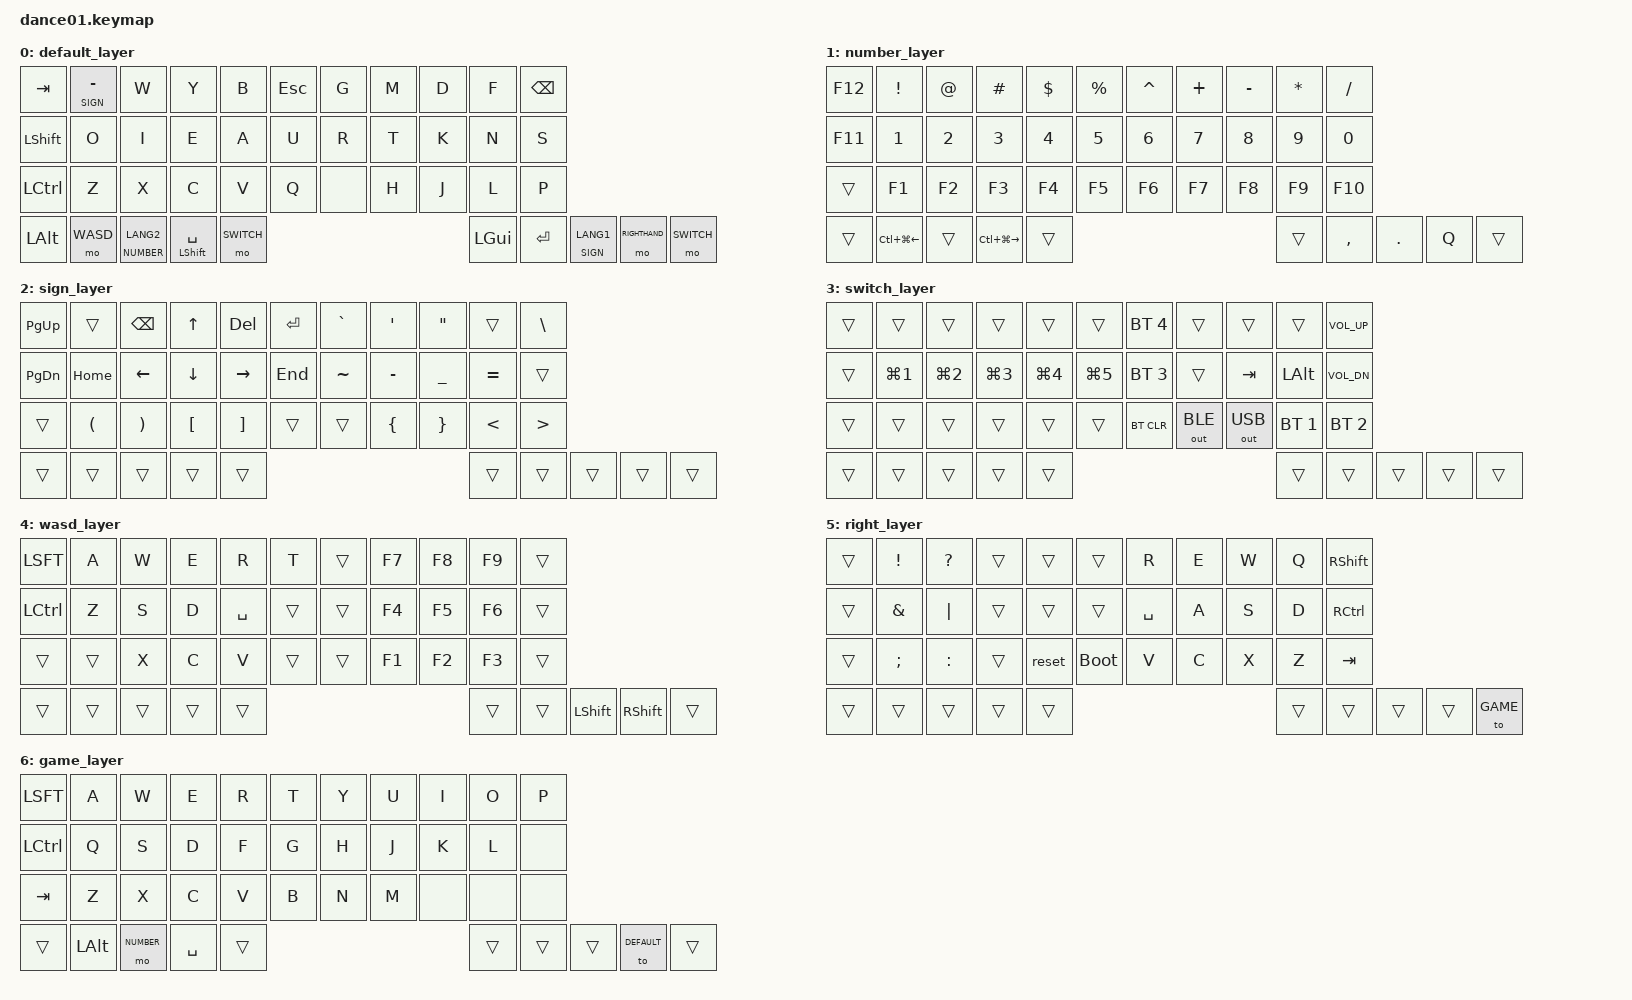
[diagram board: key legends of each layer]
#include <behaviors.dtsi>
#include <dt-bindings/zmk/keys.h>
#include <dt-bindings/zmk/bt.h>
#include <dt-bindings/zmk/outputs.h>

#define DEFAULT 0
#define NUMBER   1
#define SIGN   2
#define SWITCH 3
#define WASD 4
#define RIGHTHAND 5
#define GAME 6

/ {
    keymap {
        compatible = "zmk,keymap";

        default_layer {
            bindings = <
                &kp TAB         &lt SIGN MINUS &kp W    &kp Y &kp B &kp ESC        &kp G    &kp M &kp D &kp F &kp BSPC
                &kp LSHIFT      &kp O          &kp I    &kp E &kp A &kp U          &kp R    &kp T &kp K &kp N &kp S
                &kp LCTRL       &kp Z          &kp X    &kp C &kp V &kp Q          &none    &kp H &kp J &kp L &kp P
                &kp LALT &mo WASD &lt NUMBER LANG2 &mt LSHIFT SPC       &mo SWITCH &kp LGUI         &kp ENTER &lt SIGN LANG1 &mo RIGHTHAND &mo SWITCH
            >;
        };

        number_layer {
            bindings = <
                &kp F12 &kp EXCLAMATION &kp AT_SIGN &kp HASH &kp DOLLAR &kp PERCENT &kp CARET &kp PLUS &kp MINUS &kp ASTERISK &kp SLASH
                &kp F11 &kp N1          &kp N2      &kp N3   &kp N4     &kp N5      &kp N6    &kp N7   &kp N8    &kp N9       &kp N0
                &trans   &kp F1          &kp F2      &kp F3   &kp F4     &kp F5      &kp F6    &kp F7   &kp F8    &kp F9       &kp F10
                &trans &kp LC(LG(LEFT)) &trans   &kp LC(LG(RIGHT))      &trans &trans       &kp COMMA &kp PERIOD &kp Q &trans
            >;
        };

        sign_layer {
            bindings = <
                &kp PAGE_UP   &trans                 &kp BSPC &kp UP   &kp DEL &kp ENTER &kp GRAVE        &kp SINGLE_QUOTE &kp DOUBLE_QUOTES &trans &kp BACKSLASH
                &kp PAGE_DOWN &kp HOME              &kp LEFT &kp DOWN &kp RIGHT &kp END   &kp TILDE        &kp MINUS       &kp UNDERSCORE   &kp EQUAL &trans
                &trans        &kp LEFT_PARENTHESIS  &kp RIGHT_PARENTHESIS &kp LEFT_BRACKET &kp RIGHT_BRACKET &trans &trans &kp LEFT_BRACE &kp RIGHT_BRACE &kp LESS_THAN &kp GREATER_THAN
                &trans &trans &trans &trans       &trans &trans       &trans    &trans    &trans    &trans
            >;
        };

        switch_layer {
            bindings = <
                &trans &trans &trans &trans &trans &trans          &bt BT_SEL 4 &trans          &trans  &trans       &kp C_VOL_UP
                &trans &kp LG(N1) &kp LG(N2)  &kp LG(N3) &kp LG(N4) &kp LG(N5)                  &bt BT_SEL 3 &trans &kp TAB &kp LALT &kp C_VOL_DN
                &trans &trans &trans &trans &trans &trans          &bt BT_CLR &out OUT_BLE &out OUT_USB &bt BT_SEL 1 &bt BT_SEL 2
                &trans &trans &trans &trans     &trans &trans      &trans &trans &trans &trans
            >;
        };

        wasd_layer {
            bindings = <
                &kp LSFT &kp A &kp W  &kp E &kp R   &kp T        &trans &kp F7 &kp F8 &kp F9 &trans
                &kp LCTL &kp Z  &kp S &kp D &kp SPC &trans       &trans &kp F4 &kp F5 &kp F6 &trans
                &trans   &trans &kp X &kp C &kp V   &trans       &trans &kp F1 &kp F2 &kp F3 &trans
                &trans &trans &trans &trans     &trans &trans    &trans  &kp LSHIFT &kp RSHIFT &trans
            >;
        };
        
        right_layer {
            bindings = <
                &trans &kp EXCLAMATION &kp QUESTION &trans &trans &trans    &kp R   &kp E &kp W &kp Q &kp RSHIFT
                &trans &kp AMPERSAND   &kp PIPE     &trans &trans &trans    &kp SPC &kp A &kp S &kp D &kp RCTL
                &trans &kp SEMICOLON &kp COLON &trans &reset &bootloader    &kp V   &kp C &kp X &kp Z &kp TAB
                &trans &trans &trans &trans    &trans &trans    &trans &trans &trans &to GAME
            >;
        };

        game_layer {
            bindings = <
                &kp LSFT &kp A &kp W  &kp E &kp R &kp T       &kp Y &kp U &kp I &kp O &kp P
                &kp LCTL &kp Q &kp S &kp D &kp F &kp G        &kp H &kp J &kp K &kp L &none
                &kp TAB  &kp Z &kp X &kp C &kp V &kp B        &kp N &kp M &none &none &none
                &trans &kp LALT &mo NUMBER &kp SPC     &trans &trans    &trans  &trans &to DEFAULT &trans
            >;
        };
    };
};
